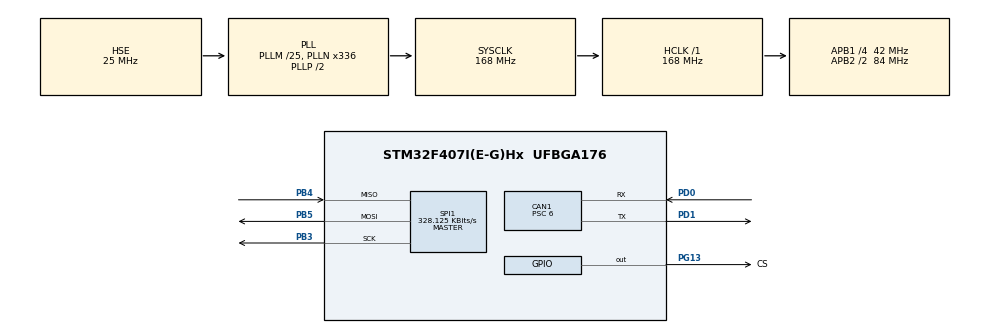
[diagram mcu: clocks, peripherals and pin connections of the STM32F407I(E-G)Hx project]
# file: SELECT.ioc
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CAN1.BS1=CAN_BS1_3TQ
CAN1.BS2=CAN_BS2_3TQ
CAN1.CalculateBaudRate=1000000
CAN1.CalculateTimeBit=1000
CAN1.CalculateTimeQuantum=142.85714285714286
CAN1.Prescaler=6
Mcu.Family=STM32F4
Mcu.Name=STM32F407I(E-G)Hx
Mcu.Package=UFBGA176
NVIC.PriorityGroup=NVIC_PRIORITYGROUP_4
PA13.Mode=Serial_Wire
PA13.Signal=SYS_JTMS-SWDIO
PA14.Mode=Serial_Wire
PA14.Signal=SYS_JTCK-SWCLK
PB3.Mode=Full_Duplex_Master
PB3.Signal=SPI1_SCK
PB4.Mode=Full_Duplex_Master
PB4.Signal=SPI1_MISO
PB5.Mode=Full_Duplex_Master
PB5.Signal=SPI1_MOSI
PD0.Mode=CAN_Activate
PD0.Signal=CAN1_RX
PD1.Mode=CAN_Activate
PD1.Signal=CAN1_TX
PG13.GPIO_Label=CS
PG13.PinState=GPIO_PIN_SET
PG13.Signal=GPIO_Output
PH0-OSC_IN.Mode=HSE-External-Oscillator
PH0-OSC_IN.Signal=RCC_OSC_IN
PH1-OSC_OUT.Mode=HSE-External-Oscillator
PH1-OSC_OUT.Signal=RCC_OSC_OUT
ProjectManager.HeapSize=0x200
ProjectManager.StackSize=0x400
ProjectManager.TargetToolchain=MDK-ARM V5.32
RCC.48MHZClocksFreq_Value=84000000
RCC.AHBFreq_Value=168000000
RCC.APB1CLKDivider=RCC_HCLK_DIV4
RCC.APB1Freq_Value=42000000
RCC.APB1TimFreq_Value=84000000
RCC.APB2CLKDivider=RCC_HCLK_DIV2
RCC.APB2Freq_Value=84000000
RCC.APB2TimFreq_Value=168000000
RCC.CortexFreq_Value=168000000
RCC.HCLKFreq_Value=168000000
RCC.HSE_VALUE=25000000
RCC.HSI_VALUE=16000000
RCC.LSE_VALUE=32768
RCC.PLLM=25
RCC.PLLN=336
RCC.PLLSourceVirtual=RCC_PLLSOURCE_HSE
RCC.SYSCLKFreq_VALUE=168000000
RCC.SYSCLKSource=RCC_SYSCLKSOURCE_PLLCLK
RCC.VCOOutputFreq_Value=336000000
SPI1.BaudRatePrescaler=SPI_BAUDRATEPRESCALER_256
SPI1.CLKPolarity=SPI_POLARITY_HIGH
SPI1.CalculateBaudRate=328.125 KBits/s
SPI1.Direction=SPI_DIRECTION_2LINES
SPI1.FirstBit=SPI_FIRSTBIT_LSB
SPI1.Mode=SPI_MODE_MASTER
SPI1.VirtualType=VM_MASTER
board=custom

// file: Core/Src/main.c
/* USER CODE BEGIN Header */
/**
  ******************************************************************************
  * @file           : main.c
  * @brief          : Main program body
  ******************************************************************************
  * @attention
  *
  * Copyright (c) 2025 STMicroelectronics.
  * All rights reserved.
  *
  * This software is licensed under terms that can be found in the LICENSE file
  * in the root directory of this software component.
  * If no LICENSE file comes with this software, it is provided AS-IS.
  *
  ******************************************************************************
  */
/* USER CODE END Header */
#include "main.h"
#include "can.h"
#include "spi.h"
#include "gpio.h"

/* USER CODE BEGIN Includes */
#include "BSP_CAN.h"
#include "M3508.h"
#include "PS2.h"
#include "Chassis.h"
/* USER CODE END Includes */

/* USER CODE BEGIN PTD */
 extern uint16_t XY[];
 extern PID pid_lf,pid_lb,pid_rf,pid_rb;
 extern CascadePID mypid ;
 extern DJI_Motor_Measure_s M3508;
 uint16_t Size;
 float  target_aps=0;
/* USER CODE END PTD */

/* USER CODE BEGIN PM */
#define MAX_I 1000.0
#define MAX_OUTPUT 2000.0
/* USER CODE END PM */

void SystemClock_Config(void);

int main(void)
{

  /* MCU Configuration--------------------------------------------------------*/

  /* Reset of all peripherals, Initializes the Flash interface and the Systick. */
  HAL_Init();

  /* Configure the system clock */
  SystemClock_Config();

  /* Initialize all configured peripherals */
  MX_GPIO_Init();
  MX_CAN1_Init();
  MX_SPI1_Init();
  /* USER CODE BEGIN 2 */
  HAL_CAN_Start (&hcan1);
  CANAddFilter();
  HAL_CAN_ActivateNotification(&hcan1, CAN_IT_RX_FIFO0_MSG_PENDING);
  PID_Init(&pid_lb, 100, 0, 0, MAX_I, MAX_OUTPUT);
  PID_Init(&pid_rf, 100, 0, 0, MAX_I, MAX_OUTPUT);
  PID_Init(&pid_rb, 100, 0, 0, MAX_I, MAX_OUTPUT);
  PID_Init(&pid_lf, 100, 0, 0, MAX_I, MAX_OUTPUT);
  /* USER CODE END 2 */

  /* Infinite loop */
  while (1)
  {

  }
}

void SystemClock_Config(void)
{
  RCC_OscInitTypeDef RCC_OscInitStruct = {0};
  RCC_ClkInitTypeDef RCC_ClkInitStruct = {0};

  /** Configure the main internal regulator output voltage
  */
  __HAL_RCC_PWR_CLK_ENABLE();
  __HAL_PWR_VOLTAGESCALING_CONFIG(PWR_REGULATOR_VOLTAGE_SCALE1);

  /** Initializes the RCC Oscillators according to the specified parameters
  * in the RCC_OscInitTypeDef structure.
  */
  RCC_OscInitStruct.OscillatorType = RCC_OSCILLATORTYPE_HSE;
  RCC_OscInitStruct.HSEState = RCC_HSE_ON;
  RCC_OscInitStruct.PLL.PLLState = RCC_PLL_ON;
  RCC_OscInitStruct.PLL.PLLSource = RCC_PLLSOURCE_HSE;
  RCC_OscInitStruct.PLL.PLLM = 25;
  RCC_OscInitStruct.PLL.PLLN = 336;
  RCC_OscInitStruct.PLL.PLLP = RCC_PLLP_DIV2;
  RCC_OscInitStruct.PLL.PLLQ = 4;
  if (HAL_RCC_OscConfig(&RCC_OscInitStruct) != HAL_OK)
  {
    Error_Handler();
  }

  /** Initializes the CPU, AHB and APB buses clocks
  */
  RCC_ClkInitStruct.ClockType = RCC_CLOCKTYPE_HCLK|RCC_CLOCKTYPE_SYSCLK
                              |RCC_CLOCKTYPE_PCLK1|RCC_CLOCKTYPE_PCLK2;
  RCC_ClkInitStruct.SYSCLKSource = RCC_SYSCLKSOURCE_PLLCLK;
  RCC_ClkInitStruct.AHBCLKDivider = RCC_SYSCLK_DIV1;
  RCC_ClkInitStruct.APB1CLKDivider = RCC_HCLK_DIV4;
  RCC_ClkInitStruct.APB2CLKDivider = RCC_HCLK_DIV2;

  if (HAL_RCC_ClockConfig(&RCC_ClkInitStruct, FLASH_LATENCY_5) != HAL_OK)
  {
    Error_Handler();
  }
}

void Error_Handler(void)
{
  __disable_irq();
  while (1)
  {
  }
}
